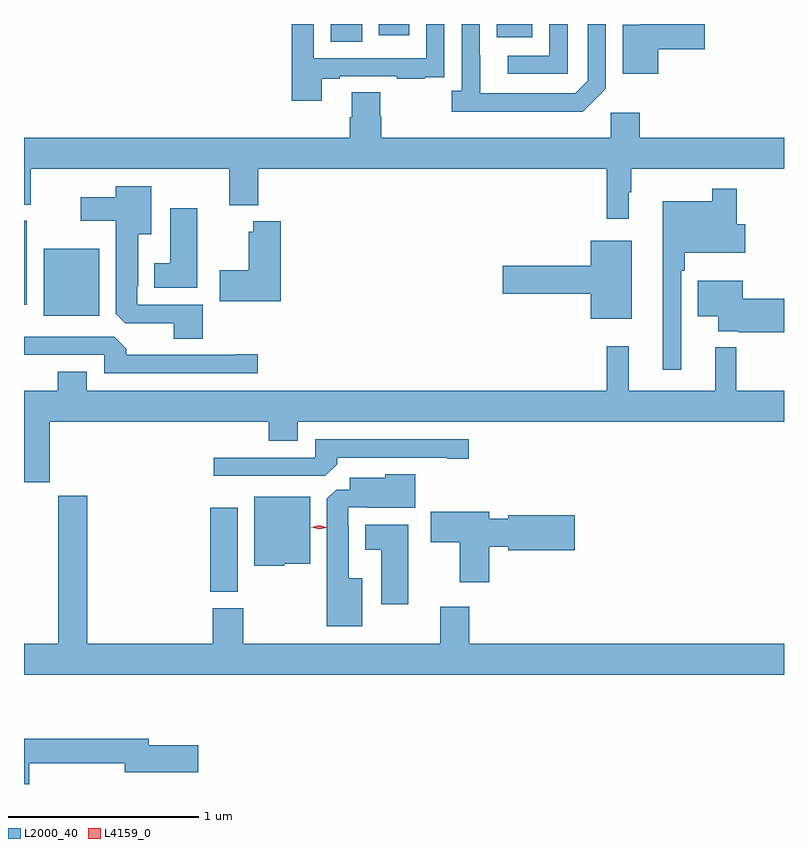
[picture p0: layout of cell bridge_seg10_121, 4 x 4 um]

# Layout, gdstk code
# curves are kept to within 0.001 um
import gdstk
lib = gdstk.Library(unit=1e-6, precision=1e-09)
def R(c, l, rs):  # rectangles x0, y0, x1, y1
    for r in rs: c.add(gdstk.rectangle(r[:2], r[2:], *l))
def P(c, l, *ps):  # polygons
    for p in ps: c.add(gdstk.Polygon(p, *l))
L2000_40 = (2000, 40)
L4159_0 = (4159, 0)

bridge_seg10_121 = lib.new_cell('bridge_seg10_121')
R(bridge_seg10_121, L2000_40, [(382.688,1279.441,382.834,1279.885), (381.812,1280.894,382.105,1281.247), (381.709,1280.952,381.724,1281.394), (383.324,1282.336,383.488,1282.43), (384.197,1282.361,384.385,1282.43), (383.576,1282.371,383.737,1282.43)])
P(bridge_seg10_121, L2000_40, [(383.275,1282.143),(383.371,1282.143),(383.371,1282.155),(383.671,1282.155),(383.671,1282.143),(383.819,1282.143),(383.819,1282.149),(383.921,1282.149),(383.921,1282.258),(383.922,1282.258),(383.922,1282.43),(383.826,1282.43),(383.826,1282.251),(383.235,1282.251),(383.235,1282.43),(383.119,1282.43),(383.119,1282.026),(383.275,1282.026)],
  [(385.048,1282.297),(385.291,1282.297),(385.291,1282.43),(384.95,1282.43),(384.95,1282.426),(384.86,1282.426),(384.86,1282.169),(385.048,1282.169)],
  [(384.771,1282.089),(384.771,1282.43),(384.675,1282.43),(384.675,1282.131),(384.609,1282.065),(384.109,1282.065),(384.108,1282.43),(384.012,1282.43),(384.012,1282.078),(383.961,1282.078),(383.961,1281.968),(384.65,1281.968)],
  [(384.57,1282.43),(384.474,1282.43),(384.474,1282.263),(384.255,1282.263),(384.255,1282.167),(384.57,1282.167)],
  [(381.709,1281.479),(381.745,1281.479),(381.745,1281.668),(382.79,1281.668),(382.79,1281.476),(382.943,1281.476),(382.943,1281.668),(384.775,1281.668),(384.775,1281.405),(384.892,1281.405),(384.892,1281.545),(384.904,1281.545),(384.904,1281.668),(385.709,1281.668),(385.709,1281.832),(384.95,1281.832),(384.95,1281.964),(384.798,1281.964),(384.798,1281.832),(383.588,1281.832),(383.588,1281.945),(383.583,1281.945),(383.583,1282.07),(383.435,1282.07),(383.435,1281.938),(383.423,1281.938),(383.423,1281.832),(381.709,1281.832)],
  [(382.649,1280.952),(382.305,1280.952),(382.305,1281.049),(382.309,1281.049),(382.309,1281.323),(382.378,1281.323),(382.378,1281.577),(382.193,1281.577),(382.193,1281.517),(382.008,1281.517),(382.008,1281.395),(382.193,1281.395),(382.193,1280.905),(382.242,1280.856),(382.496,1280.856),(382.496,1280.773),(382.649,1280.773)],
  [(385.167,1281.131),(385.187,1281.131),(385.187,1281.227),(385.504,1281.227),(385.504,1281.375),(385.46,1281.375),(385.46,1281.562),(385.332,1281.562),(385.332,1281.496),(385.07,1281.496),(385.07,1280.61),(385.167,1280.61)],
  [(382.621,1281.46),(382.478,1281.46),(382.478,1281.172),(382.394,1281.172),(382.394,1281.041),(382.621,1281.041)],
  [(383.06,1281.391),(382.915,1281.391),(382.915,1281.337),(382.892,1281.337),(382.892,1281.135),(382.74,1281.135),(382.74,1280.972),(383.06,1280.972)],
  [(384.907,1281.289),(384.692,1281.289),(384.692,1281.158),(384.228,1281.158),(384.228,1281.011),(384.692,1281.011),(384.692,1280.879),(384.907,1280.879)],
  [(385.709,1280.984),(385.492,1280.984),(385.492,1281.079),(385.256,1281.079),(385.256,1280.891),(385.364,1280.891),(385.364,1280.813),(385.468,1280.813),(385.468,1280.808),(385.709,1280.808)],
  [(382.939,1280.693),(382.826,1280.693),(382.826,1280.688),(382.247,1280.688),(382.247,1280.722),(382.185,1280.784),(381.709,1280.784),(381.709,1280.688),(382.131,1280.688),(382.131,1280.592),(382.939,1280.592)],
  [(382.997,1280.237),(383.149,1280.237),(383.149,1280.336),(385.709,1280.336),(385.709,1280.5),(385.458,1280.5),(385.458,1280.728),(385.346,1280.728),(385.346,1280.5),(384.893,1280.5),(384.893,1280.734),(384.775,1280.734),(384.775,1280.5),(382.039,1280.5),(382.039,1280.599),(381.887,1280.599),(381.887,1280.5),(381.709,1280.5),(381.709,1280.019),(381.844,1280.019),(381.844,1280.336),(382.997,1280.336)],
  [(383.357,1280.114),(383.357,1280.148),(383.936,1280.148),(383.936,1280.143),(384.049,1280.143),(384.049,1280.244),(383.241,1280.244),(383.241,1280.148),(382.707,1280.148),(382.707,1280.052),(383.295,1280.052)],
  [(383.488,1279.513),(383.419,1279.513),(383.419,1279.787),(383.415,1279.787),(383.415,1279.887),(383.515,1279.887),(383.515,1279.883),(383.767,1279.883),(383.767,1280.059),(383.61,1280.059),(383.61,1280.041),(383.423,1280.041),(383.423,1279.98),(383.352,1279.98),(383.303,1279.931),(383.303,1279.259),(383.488,1279.259)],
  [(385.709,1279.168),(384.053,1279.168),(384.053,1279.363),(383.9,1279.363),(383.9,1279.168),(382.863,1279.168),(382.863,1279.356),(382.703,1279.356),(382.703,1279.168),(382.043,1279.168),(382.043,1279.947),(381.89,1279.947),(381.89,1279.168),(381.709,1279.168),(381.709,1279.004),(385.709,1279.004)],
  [(383.079,1279.589),(383.215,1279.589),(383.215,1279.942),(382.922,1279.942),(382.922,1279.58),(383.079,1279.58)],
  [(384.157,1279.679),(384.258,1279.679),(384.258,1279.661),(384.607,1279.661),(384.607,1279.844),(384.258,1279.844),(384.258,1279.826),(384.157,1279.826),(384.157,1279.864),(383.85,1279.864),(383.85,1279.702),(384.002,1279.702),(384.002,1279.491),(384.157,1279.491)],
  [(383.731,1279.795),(383.504,1279.795),(383.504,1279.664),(383.588,1279.664),(383.588,1279.377),(383.731,1279.377)],
  [(381.737,1278.538),(382.238,1278.538),(382.238,1278.491),(382.627,1278.491),(382.627,1278.633),(382.366,1278.633),(382.366,1278.667),(381.709,1278.667),(381.709,1278.43),(381.737,1278.43)])
P(bridge_seg10_121, L4159_0, [(383.262,1279.771),(383.222,1279.782),(383.222,1279.782),(383.222,1279.782),(383.263,1279.791),(383.303,1279.781),(383.303,1279.78),(383.303,1279.78)])

lib.write_gds('bridge_seg10_121.gds')
